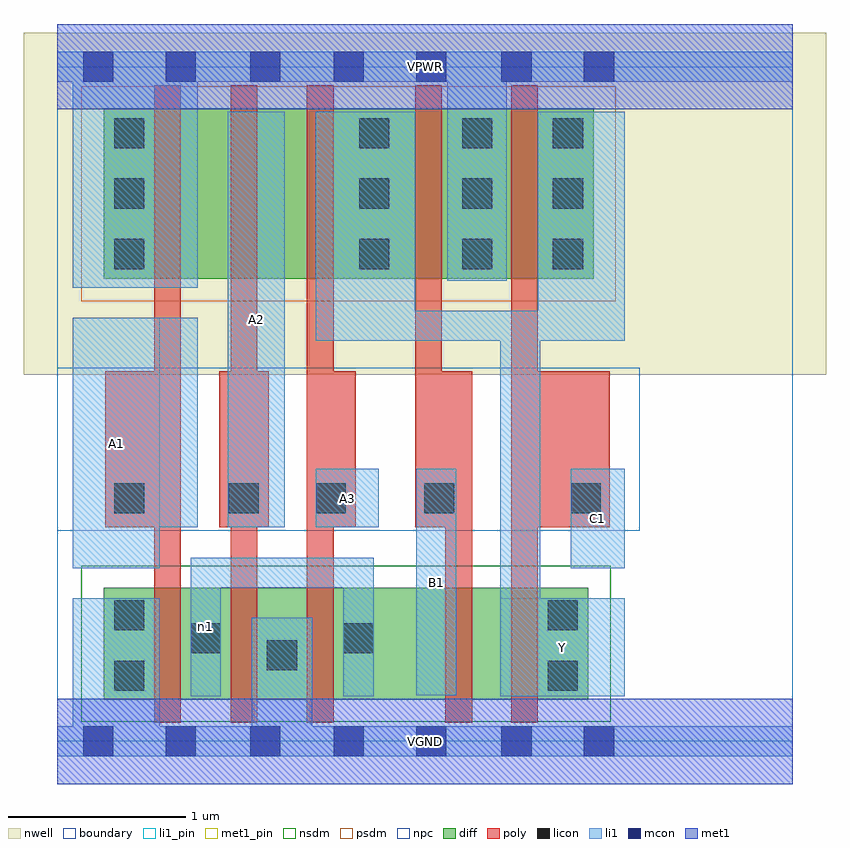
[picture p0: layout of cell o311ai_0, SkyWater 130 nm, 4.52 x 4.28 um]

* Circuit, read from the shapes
.subckt o311ai_0 A1 A2 A3 B1 C1 VGND VPWR Y n1
XM1 n1 A1 VGND VSUBS sky130_fd_pr__nfet_01v8 w=0.63 l=0.15
XM2 VGND A2 n1 VSUBS sky130_fd_pr__nfet_01v8 w=0.63 l=0.15
XM3 n1 A3 VGND VSUBS sky130_fd_pr__nfet_01v8 w=0.63 l=0.15
XM4 n2 B1 n1 VSUBS sky130_fd_pr__nfet_01v8 w=0.63 l=0.15
XM5 Y C1 n2 VSUBS sky130_fd_pr__nfet_01v8 w=0.63 l=0.15
XM6 n3 A1 VPWR n4 sky130_fd_pr__pfet_01v8 w=0.96 l=0.15
XM7 n5 A2 n3 n4 sky130_fd_pr__pfet_01v8 w=0.96 l=0.15
XM8 Y A3 n5 n4 sky130_fd_pr__pfet_01v8 w=0.96 l=0.15
XM9 VPWR B1 Y n4 sky130_fd_pr__pfet_01v8 w=0.96 l=0.15
XM10 Y C1 VPWR n4 sky130_fd_pr__pfet_01v8 w=0.96 l=0.15
.ends

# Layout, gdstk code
import gdstk
lib = gdstk.Library(unit=1e-6, precision=1e-09)
def R(c, l, rs):  # rectangles x0, y0, x1, y1
    for r in rs: c.add(gdstk.rectangle(r[:2], r[2:], *l))
def A(c, l, x, y, w, h, nx, ny, dx, dy):  # array of equal rectangles
    R(c, l, [(x+i*dx, y+j*dy, x+i*dx+w, y+j*dy+h) for i in range(nx) for j in range(ny)])
nwell = (64, 20)
diff = (65, 20)
poly = (66, 20)
licon = (66, 44)
li1_pin = (67, 16)
li1 = (67, 20)
mcon = (67, 44)
met1_pin = (68, 16)
met1 = (68, 20)
nsdm = (93, 44)
psdm = (94, 20)
npc = (95, 20)
boundary = (235, 4)

o311ai_0 = lib.new_cell('o311ai_0')
R(o311ai_0, nwell, [(-0.19,2.065,4.33,3.99), (0,2.065,4.14,3.99)])
R(o311ai_0, diff, [(0.26,0.235,2.99,0.865), (0.26,2.605,3.02,3.565)])
A(o311ai_0, poly, 0.545, 0.105, 0.15, 3.59, 3, 1, 0.43, 0)
R(o311ai_0, poly, [(2.185,0.105,2.335,2.085), (2.555,0.105,2.705,3.695), (0.27,1.205,0.695,2.085), (0.91,1.205,1.19,2.085), (1.405,1.205,1.68,2.085), (2.015,1.205,2.165,3.695), (2.015,1.205,2.335,2.085), (2.555,1.205,3.11,2.085)])
A(o311ai_0, licon, 0.32, 2.66, 0.17, 0.17, 1, 3, 0, 0.34)
A(o311ai_0, licon, 1.7, 2.66, 0.17, 0.17, 1, 3, 0, 0.34)
A(o311ai_0, licon, 2.28, 2.66, 0.17, 0.17, 1, 3, 0, 0.34)
A(o311ai_0, licon, 2.79, 2.66, 0.17, 0.17, 1, 3, 0, 0.34)
R(o311ai_0, licon, [(0.32,0.285,0.49,0.455), (2.76,0.285,2.93,0.455), (1.18,0.4,1.35,0.57), (0.75,0.495,0.92,0.665), (1.61,0.495,1.78,0.665), (0.32,0.625,0.49,0.795), (2.76,0.625,2.93,0.795), (0.32,1.285,0.49,1.455), (0.965,1.285,1.135,1.455), (1.455,1.285,1.625,1.455), (2.065,1.285,2.235,1.455), (2.89,1.285,3.06,1.455)])
R(o311ai_0, li1_pin, [(2.495,0.255,3.195,0.805), (2.02,0.26,2.245,1.535), (0.085,0.975,0.575,2.385), (2.89,0.975,3.195,1.535), (0.96,1.205,1.28,3.545), (1.455,1.205,1.81,1.535)])
R(o311ai_0, li1, [(0,-0.085,4.14,0.085), (0.085,-0.085,0.575,0.805), (1.095,-0.085,1.435,0.695), (0.75,0.255,0.92,1.035), (1.61,0.255,1.78,1.035), (2.495,0.255,2.72,2.425), (2.495,0.255,3.195,0.805), (2.02,0.26,2.245,1.535), (0.75,0.865,1.78,1.035), (0.085,0.975,0.575,2.385), (2.89,0.975,3.195,1.535), (0.085,1.205,0.79,2.385), (0.96,1.205,1.28,3.545), (1.455,1.205,1.81,1.535), (1.455,2.255,2.015,3.545), (1.455,2.255,3.195,2.425), (2.705,2.255,3.195,3.545), (0.085,2.555,0.79,3.885), (2.195,2.595,2.53,3.885), (0,3.715,4.14,3.885)])
R(o311ai_0, mcon, [(0.145,-0.085,0.315,0.085), (0.61,-0.085,0.78,0.085), (1.085,-0.085,1.255,0.085), (1.555,-0.085,1.725,0.085), (2.02,-0.085,2.19,0.085), (2.5,-0.085,2.67,0.085), (2.965,-0.085,3.135,0.085), (0.145,3.715,0.315,3.885), (0.61,3.715,0.78,3.885), (1.085,3.715,1.255,3.885), (1.555,3.715,1.725,3.885), (2.02,3.715,2.19,3.885), (2.5,3.715,2.67,3.885), (2.965,3.715,3.135,3.885)])
R(o311ai_0, met1_pin, [(0,-0.24,4.14,0.24), (0,3.56,4.14,4.04)])
R(o311ai_0, met1, [(0,-0.24,4.14,0.24), (0,3.56,4.14,4.04)])
R(o311ai_0, nsdm, [(0.135,0.11,3.115,0.99)])
R(o311ai_0, psdm, [(0.135,2.48,3.145,3.69)])
R(o311ai_0, npc, [(0,1.185,3.28,2.105)])
R(o311ai_0, boundary, [(0,0,4.14,3.8)])
o311ai_0.add(gdstk.Label('A1', (0.33,1.68), layer=67, texttype=5))
o311ai_0.add(gdstk.Label('A2', (1.12,2.375), layer=67, texttype=5))
o311ai_0.add(gdstk.Label('A3', (1.632,1.37), layer=67, texttype=5))
o311ai_0.add(gdstk.Label('B1', (2.132,0.897), layer=67, texttype=5))
o311ai_0.add(gdstk.Label('C1', (3.042,1.255), layer=67, texttype=5))
o311ai_0.add(gdstk.Label('Y', (2.845,0.53), layer=67, texttype=5))
o311ai_0.add(gdstk.Label('n1', (0.835,0.645), layer=67, texttype=5))
o311ai_0.add(gdstk.Label('VPWR', (2.07,3.8), layer=68, texttype=5))
o311ai_0.add(gdstk.Label('VGND', (2.07,0), layer=68, texttype=5))
o311ai_0.add(gdstk.Label('A1', (0.33,1.68), layer=67, texttype=16))
o311ai_0.add(gdstk.Label('A2', (1.12,2.375), layer=67, texttype=16))
o311ai_0.add(gdstk.Label('A3', (1.632,1.37), layer=67, texttype=16))
o311ai_0.add(gdstk.Label('B1', (2.132,0.897), layer=67, texttype=16))
o311ai_0.add(gdstk.Label('C1', (3.042,1.255), layer=67, texttype=16))
o311ai_0.add(gdstk.Label('Y', (2.845,0.53), layer=67, texttype=16))
o311ai_0.add(gdstk.Label('VPWR', (2.07,3.8), layer=68, texttype=16))
o311ai_0.add(gdstk.Label('VGND', (2.07,0), layer=68, texttype=16))

lib.write_gds('o311ai_0.gds')
